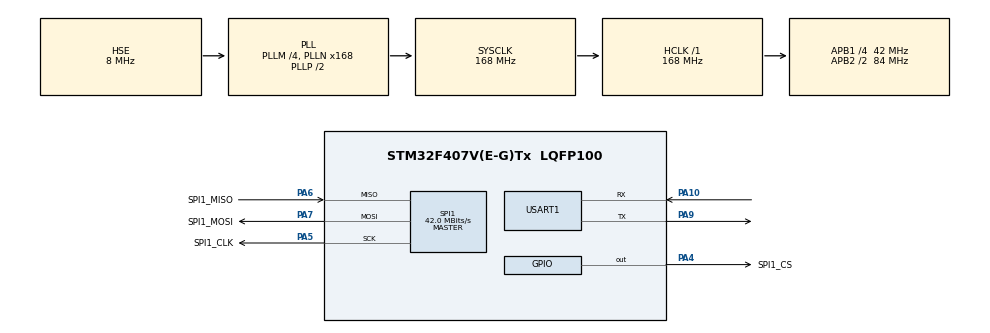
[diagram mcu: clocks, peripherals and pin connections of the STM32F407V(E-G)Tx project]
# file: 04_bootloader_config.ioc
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Dma.Request0=USART1_RX
Dma.USART1_RX.0.Direction=DMA_PERIPH_TO_MEMORY
Dma.USART1_RX.0.FIFOMode=DMA_FIFOMODE_DISABLE
Dma.USART1_RX.0.Instance=DMA2_Stream5
Dma.USART1_RX.0.MemDataAlignment=DMA_MDATAALIGN_BYTE
Dma.USART1_RX.0.MemInc=DMA_MINC_ENABLE
Dma.USART1_RX.0.Mode=DMA_NORMAL
Dma.USART1_RX.0.PeriphDataAlignment=DMA_PDATAALIGN_BYTE
Dma.USART1_RX.0.PeriphInc=DMA_PINC_DISABLE
Dma.USART1_RX.0.Priority=DMA_PRIORITY_HIGH
Mcu.Family=STM32F4
Mcu.Name=STM32F407V(E-G)Tx
Mcu.Package=LQFP100
NVIC.DMA2_Stream5_IRQn=true\:0\:0\:false\:false\:true\:false\:true\:true
NVIC.PriorityGroup=NVIC_PRIORITYGROUP_4
NVIC.USART1_IRQn=true\:3\:0\:true\:false\:true\:true\:true\:true
PA10.Mode=Asynchronous
PA10.Signal=USART1_RX
PA13.Mode=Serial_Wire
PA13.Signal=SYS_JTMS-SWDIO
PA14.Mode=Serial_Wire
PA14.Signal=SYS_JTCK-SWCLK
PA4.GPIO_Label=SPI1_CS
PA4.GPIO_PuPd=GPIO_PULLUP
PA4.GPIO_Speed=GPIO_SPEED_FREQ_VERY_HIGH
PA4.PinState=GPIO_PIN_SET
PA4.Signal=GPIO_Output
PA5.GPIO_Label=SPI1_CLK
PA5.Mode=Full_Duplex_Master
PA5.Signal=SPI1_SCK
PA6.GPIO_Label=SPI1_MISO
PA6.Mode=Full_Duplex_Master
PA6.Signal=SPI1_MISO
PA7.GPIO_Label=SPI1_MOSI
PA7.Mode=Full_Duplex_Master
PA7.Signal=SPI1_MOSI
PA9.Mode=Asynchronous
PA9.Signal=USART1_TX
PC14-OSC32_IN.Mode=LSE-External-Oscillator
PC14-OSC32_IN.Signal=RCC_OSC32_IN
PC15-OSC32_OUT.Mode=LSE-External-Oscillator
PC15-OSC32_OUT.Signal=RCC_OSC32_OUT
PH0-OSC_IN.Mode=HSE-External-Oscillator
PH0-OSC_IN.Signal=RCC_OSC_IN
PH1-OSC_OUT.Mode=HSE-External-Oscillator
PH1-OSC_OUT.Signal=RCC_OSC_OUT
ProjectManager.HeapSize=0x200
ProjectManager.StackSize=0x400
ProjectManager.TargetToolchain=MDK-ARM V5.32
RCC.48MHZClocksFreq_Value=84000000
RCC.AHBFreq_Value=168000000
RCC.APB1CLKDivider=RCC_HCLK_DIV4
RCC.APB1Freq_Value=42000000
RCC.APB1TimFreq_Value=84000000
RCC.APB2CLKDivider=RCC_HCLK_DIV2
RCC.APB2Freq_Value=84000000
RCC.APB2TimFreq_Value=168000000
RCC.CortexFreq_Value=168000000
RCC.HCLKFreq_Value=168000000
RCC.HSE_VALUE=8000000
RCC.HSI_VALUE=16000000
RCC.PLLM=4
RCC.PLLN=168
RCC.PLLSourceVirtual=RCC_PLLSOURCE_HSE
RCC.SYSCLKFreq_VALUE=168000000
RCC.SYSCLKSource=RCC_SYSCLKSOURCE_PLLCLK
RCC.VCOOutputFreq_Value=336000000
SPI1.CLKPolarity=SPI_POLARITY_LOW
SPI1.CalculateBaudRate=42.0 MBits/s
SPI1.Direction=SPI_DIRECTION_2LINES
SPI1.Mode=SPI_MODE_MASTER
SPI1.VirtualType=VM_MASTER
USART1.VirtualMode=VM_ASYNC
board=custom

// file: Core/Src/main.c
/* USER CODE BEGIN Header */
/**
  ******************************************************************************
  * @file           : main.c
  * @brief          : Main program body
  ******************************************************************************
  * @attention
  *
  * Copyright (c) 2025 STMicroelectronics.
  * All rights reserved.
  *
  * This software is licensed under terms that can be found in the LICENSE file
  * in the root directory of this software component.
  * If no LICENSE file comes with this software, it is provided AS-IS.
  *
  ******************************************************************************
  */
/* USER CODE END Header */
#include "main.h"
#include "dma.h"
#include "spi.h"
#include "usart.h"
#include "gpio.h"

/* USER CODE BEGIN PV */
uint8_t rx_buff[POINTER_ARR_SIZE];
QUEUE_POS_t qp;

OTA_Info_t st_ota_info; // OTA 结构体数据
OTA_UpdatePackage_t st_ota_update_package; // OTA 更新的分包的信息

// 全局状态变量，共 32 位，每一位均用于判断当前哪种事件触发
uint32_t boot_update_status;
/* USER CODE END PV */

void SystemClock_Config(void);

/* USER CODE BEGIN 0 */
void QUEUE_POS_init()
{
  qp.pos_ptr_in = &qp.pos_ptr[0];
  qp.pos_ptr_out = &qp.pos_ptr[0];
  qp.pos_ptr_in->start = &rx_buff[0];
  qp.receive_count = 0;
  qp.pos_ptr_end = &qp.pos_ptr[NUM - 1];
}
/* USER CODE END 0 */

int main(void)
{

  /* MCU Configuration--------------------------------------------------------*/

  /* Reset of all peripherals, Initializes the Flash interface and the Systick. */
  HAL_Init();

  /* Configure the system clock */
  SystemClock_Config();

  /* Initialize all configured peripherals */
  MX_GPIO_Init();
  MX_DMA_Init();
  MX_USART1_UART_Init();
  MX_SPI1_Init();
  /* USER CODE BEGIN 2 */
	QUEUE_POS_init();
  w25q128_init();
  boot_init();
  printf("boot init over\n");
  /* USER CODE END 2 */

  /* Infinite loop */
  /* USER CODE BEGIN WHILE */
  uint16_t i;
  while (1)
  {
    // OTA 标志升级标志位为 1
		if(boot_update_status & OTA_UPDATE_A_FLAG) {
      // 开始着手更新 A 区
      printf("download total size = %d\n", st_ota_info.ota_down_size[st_ota_update_package.update_package_arrive_num]);
      // 在写入时，是按照 4 个字节为单位进行处理的，所以升级的包大小必须是 4 的整数倍
      if(st_ota_info.ota_down_size[st_ota_update_package.update_package_arrive_num] % 4 == 0) {
        // printf("size\n");
        // 先进行内部 flash 擦除，此处擦除 sector2~3，共 32Kbytes
        internal_flash_erase(FLASH_SECTOR_2, 2);
        // 每次读取 1024 字节，计算总共需要读取多少次
        int read_count = st_ota_info.ota_down_size[st_ota_update_package.update_package_arrive_num] / OTA_SUBCONTRACT_DOWNLOAD_SIZE;
        for (i = 0; i < read_count; i++)
        {
          // 读取，升级包及每个单独的应用程序分配 64Kbytes
          W25Q128_read(st_ota_update_package.update_single_package, st_ota_update_package.update_package_arrive_num * 64 * 1024 + i * OTA_SUBCONTRACT_DOWNLOAD_SIZE, OTA_SUBCONTRACT_DOWNLOAD_SIZE);
          // 写入内部 flash
          internal_flash_write(STM32_A_START_ADDRESS + i * OTA_SUBCONTRACT_DOWNLOAD_SIZE, (uint32_t *)st_ota_update_package.update_single_package, OTA_SUBCONTRACT_DOWNLOAD_SIZE);
        }
        // 如果上面的大小整除不尽，就会还有剩下的等待处理
        uint32_t remain = st_ota_info.ota_down_size[st_ota_update_package.update_package_arrive_num] % OTA_SUBCONTRACT_DOWNLOAD_SIZE;
        if(remain != 0) {
          // 读取
          W25Q128_read(st_ota_update_package.update_single_package, st_ota_update_package.update_package_arrive_num * 64 * 1024 + i * OTA_SUBCONTRACT_DOWNLOAD_SIZE, remain);
          // 写入内部 flash
          internal_flash_write(STM32_A_START_ADDRESS + i * OTA_SUBCONTRACT_DOWNLOAD_SIZE, (uint32_t *)st_ota_update_package.update_single_package, remain);
        }

        // 写完数据，清除标志位，并且重启
        if(st_ota_update_package.update_package_arrive_num == 0) {
          // printf("ota flag\n");
          st_ota_info.ota_flag = 0;
          // 将标志位写入内存中
          W25Q128_write_vatiable_into_flash();
        }
        // printf("reset\n");
        NVIC_SystemReset();

      } else {
        printf("长度有误\n");
          boot_update_status &= ~OTA_UPDATE_A_FLAG;
      }
    }
    /* USER CODE END WHILE */

  }
}

void SystemClock_Config(void)
{
  RCC_OscInitTypeDef RCC_OscInitStruct = {0};
  RCC_ClkInitTypeDef RCC_ClkInitStruct = {0};

  /** Configure the main internal regulator output voltage
  */
  __HAL_RCC_PWR_CLK_ENABLE();
  __HAL_PWR_VOLTAGESCALING_CONFIG(PWR_REGULATOR_VOLTAGE_SCALE1);

  /** Initializes the RCC Oscillators according to the specified parameters
  * in the RCC_OscInitTypeDef structure.
  */
  RCC_OscInitStruct.OscillatorType = RCC_OSCILLATORTYPE_HSE;
  RCC_OscInitStruct.HSEState = RCC_HSE_ON;
  RCC_OscInitStruct.PLL.PLLState = RCC_PLL_ON;
  RCC_OscInitStruct.PLL.PLLSource = RCC_PLLSOURCE_HSE;
  RCC_OscInitStruct.PLL.PLLM = 4;
  RCC_OscInitStruct.PLL.PLLN = 168;
  RCC_OscInitStruct.PLL.PLLP = RCC_PLLP_DIV2;
  RCC_OscInitStruct.PLL.PLLQ = 4;
  if (HAL_RCC_OscConfig(&RCC_OscInitStruct) != HAL_OK)
  {
    Error_Handler();
  }

  /** Initializes the CPU, AHB and APB buses clocks
  */
  RCC_ClkInitStruct.ClockType = RCC_CLOCKTYPE_HCLK|RCC_CLOCKTYPE_SYSCLK
                              |RCC_CLOCKTYPE_PCLK1|RCC_CLOCKTYPE_PCLK2;
  RCC_ClkInitStruct.SYSCLKSource = RCC_SYSCLKSOURCE_PLLCLK;
  RCC_ClkInitStruct.AHBCLKDivider = RCC_SYSCLK_DIV1;
  RCC_ClkInitStruct.APB1CLKDivider = RCC_HCLK_DIV4;
  RCC_ClkInitStruct.APB2CLKDivider = RCC_HCLK_DIV2;

  if (HAL_RCC_ClockConfig(&RCC_ClkInitStruct, FLASH_LATENCY_5) != HAL_OK)
  {
    Error_Handler();
  }
}

void Error_Handler(void)
{
  __disable_irq();
  while (1)
  {
  }
}
